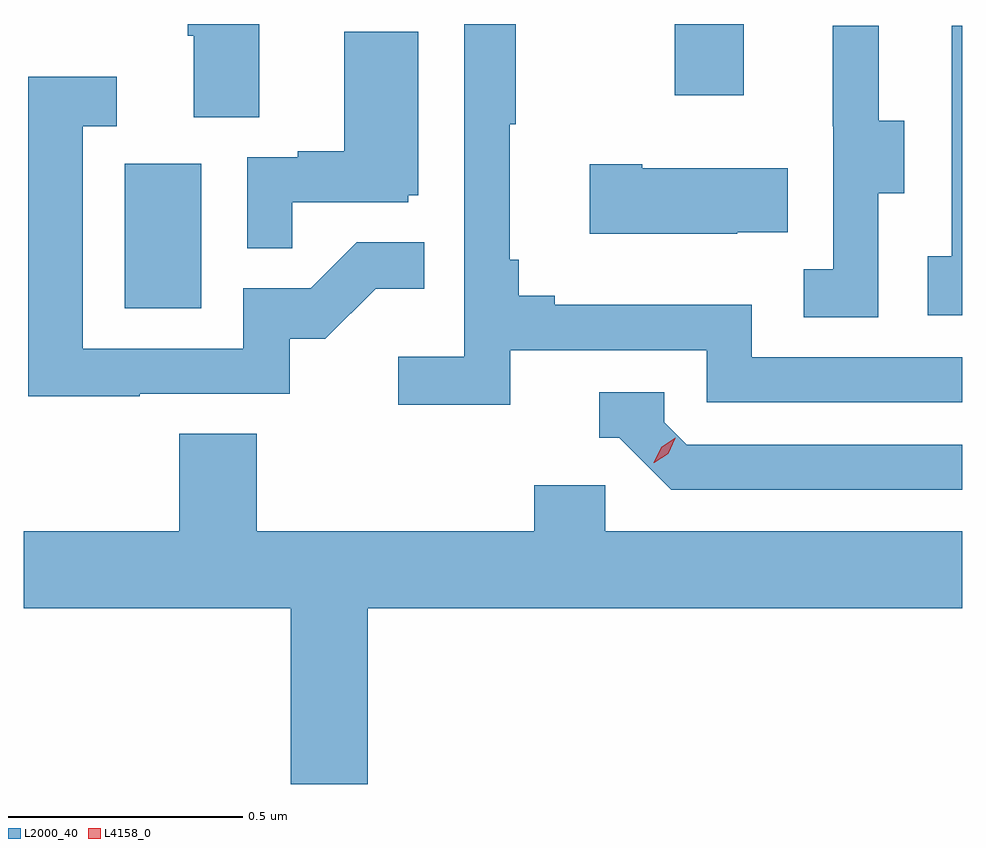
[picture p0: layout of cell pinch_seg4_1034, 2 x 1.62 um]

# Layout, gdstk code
import gdstk
lib = gdstk.Library(unit=1e-6, precision=1e-09)
def R(c, l, rs):  # rectangles x0, y0, x1, y1
    for r in rs: c.add(gdstk.rectangle(r[:2], r[2:], *l))
def P(c, l, *ps):  # polygons
    for p in ps: c.add(gdstk.Polygon(p, *l))
L2000_40 = (2000, 40)
L4158_0 = (4158, 0)

pinch_seg4_1034 = lib.new_cell('pinch_seg4_1034')
R(pinch_seg4_1034, L2000_40, [(823.994,773.484,824.158,773.791), (825.166,773.937,825.313,774.089)])
P(pinch_seg4_1034, L2000_40, [(824.281,774.089),(824.129,774.089),(824.129,774.064),(824.141,774.064),(824.141,773.89),(824.281,773.89)],
  [(824.816,773.394),(825.234,773.394),(825.234,773.283),(825.779,773.283),(825.779,773.379),(825.33,773.379),(825.33,773.491),(824.911,773.491),(824.911,773.51),(824.834,773.51),(824.834,773.587),(824.815,773.587),(824.815,773.875),(824.827,773.875),(824.827,774.088),(824.718,774.088),(824.718,773.38),(824.577,773.38),(824.577,773.278),(824.816,773.278)],
  [(825.779,774.085),(825.756,774.085),(825.756,773.594),(825.705,773.594),(825.705,773.469),(825.779,773.469)],
  [(825.6,773.728),(825.655,773.728),(825.655,773.883),(825.601,773.883),(825.601,774.085),(825.503,774.085),(825.503,773.871),(825.504,773.871),(825.504,773.567),(825.441,773.567),(825.441,773.464),(825.6,773.464)],
  [(824.351,773.709),(824.598,773.709),(824.598,773.724),(824.62,773.724),(824.62,774.073),(824.462,774.073),(824.462,773.818),(824.363,773.818),(824.363,773.805),(824.256,773.805),(824.256,773.611),(824.351,773.611)],
  [(824.027,773.301),(824.346,773.301),(824.346,773.418),(824.422,773.418),(824.529,773.525),(824.633,773.525),(824.633,773.624),(824.489,773.624),(824.391,773.526),(824.247,773.526),(824.247,773.397),(823.905,773.397),(823.905,773.871),(823.978,773.871),(823.978,773.977),(823.789,773.977),(823.789,773.296),(824.027,773.296)],
  [(825.299,773.645),(825.407,773.645),(825.407,773.782),(825.097,773.782),(825.097,773.79),(824.985,773.79),(824.985,773.642),(825.299,773.642)],
  [(825.779,773.193),(825.192,773.193),(825.144,773.241),(825.144,773.304),(825.005,773.304),(825.005,773.208),(825.048,773.208),(825.159,773.097),(825.779,773.097)],
  [(824.512,772.844),(825.779,772.844),(825.779,773.008),(825.018,773.008),(825.018,773.106),(824.867,773.106),(824.867,773.008),(824.276,773.008),(824.276,773.216),(824.111,773.216),(824.111,773.008),(823.779,773.008),(823.779,772.844),(824.348,772.844),(824.348,772.47),(824.512,772.47)])
P(pinch_seg4_1034, L4158_0, [(825.121,773.154),(825.121,773.155),(825.137,773.187),(825.167,773.208),(825.167,773.208),(825.167,773.207),(825.152,773.174),(825.122,773.154)])

lib.write_gds('pinch_seg4_1034.gds')
